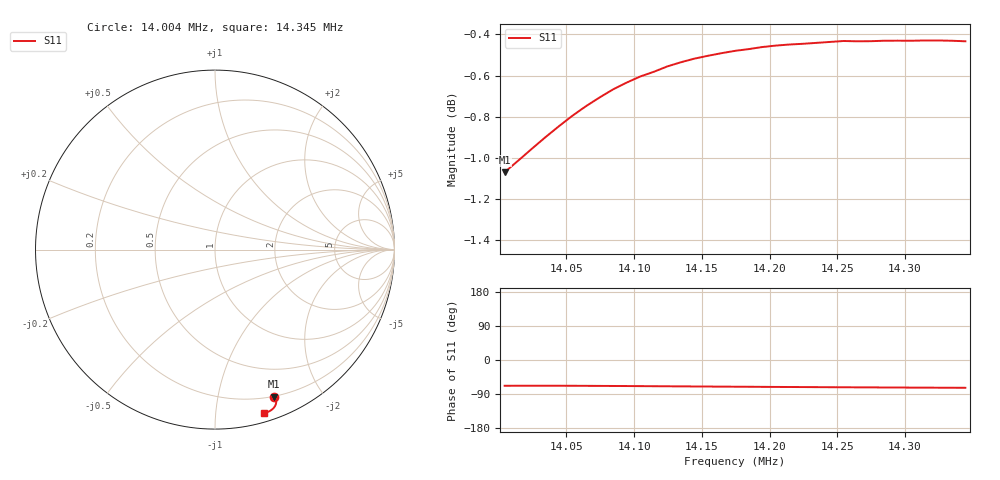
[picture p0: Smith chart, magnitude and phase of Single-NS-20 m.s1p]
# HZ S RI R 50
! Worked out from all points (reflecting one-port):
!   35 points, 14.004 MHz to 14.345 MHz, reference 50 ohm
!   lowest |S11| = -1.1 dB at 14.004 MHz (marker M1), VSWR 16.26, Z = 9.74 - j73.2 ohm
!   phase of S11 starts at -68 deg and turns -5 deg over the sweep
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1.40044e7  0.3305 -0.82
1.40144e7  0.3342 -0.8247
1.402441e7  0.3372 -0.8298
1.403441e7  0.3393 -0.8353
1.404442e7  0.3405 -0.8408
1.405442e7  0.3411 -0.8463
1.406442e7  0.3409 -0.8517
1.407443e7  0.3399 -0.8569
1.408443e7  0.3388 -0.8618
1.409444e7  0.3371 -0.8663
1.410444e7  0.335 -0.8705
1.411444e7  0.3325 -0.8741
1.412445e7  0.3303 -0.878
1.413445e7  0.3277 -0.8813
1.414446e7  0.325 -0.8843
1.415446e7  0.3222 -0.8869
1.417447e7  0.3164 -0.8918
1.418447e7  0.3139 -0.8936
1.419448e7  0.3107 -0.8959
1.420448e7  0.308 -0.8977
1.422449e7  0.3024 -0.9006
1.423449e7  0.2996 -0.902
1.42545e7  0.2944 -0.9048
1.42645e7  0.2918 -0.9055
1.428451e7  0.2866 -0.9074
1.430452e7  0.2817 -0.909
1.432453e7  0.2768 -0.9106
1.434454e7  0.2721 -0.9116
